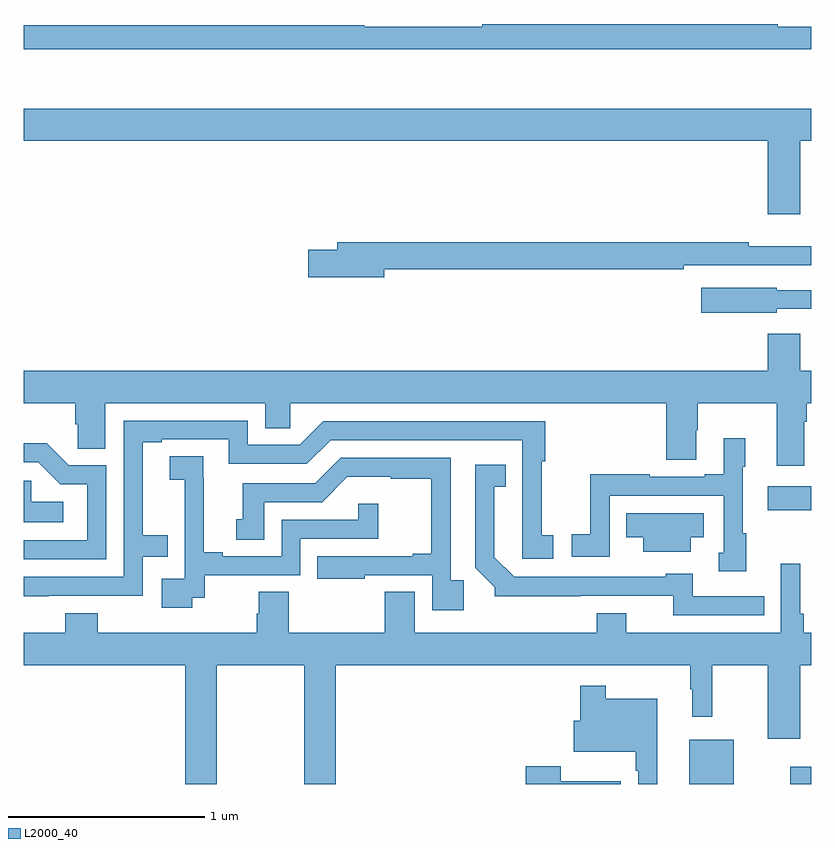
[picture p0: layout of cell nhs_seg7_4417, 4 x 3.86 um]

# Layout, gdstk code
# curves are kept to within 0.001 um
import gdstk
lib = gdstk.Library(unit=1e-6, precision=1e-09)
def R(c, l, rs):  # rectangles x0, y0, x1, y1
    for r in rs: c.add(gdstk.rectangle(r[:2], r[2:], *l))
def P(c, l, *ps):  # polygons
    for p in ps: c.add(gdstk.Polygon(p, *l))
L2000_40 = (2000, 40)

nhs_seg7_4417 = lib.new_cell('nhs_seg7_4417')
R(nhs_seg7_4417, L2000_40, [(392.381,1012,392.608,1012.225), (392.894,1012,393,1012.088), (392.781,1013.39,393,1013.512)])
P(nhs_seg7_4417, L2000_40, [(393,1015.847),(392.83,1015.847),(392.83,1015.862),(391.33,1015.862),(391.33,1015.847),(390.73,1015.847),(390.73,1015.855),(389,1015.855),(389,1015.734),(393,1015.734)],
  [(392.944,1015.268),(393,1015.268),(393,1015.432),(389,1015.432),(389,1015.268),(392.78,1015.268),(392.78,1014.894),(392.944,1014.894)],
  [(390.832,1014.616),(392.354,1014.616),(392.354,1014.636),(393,1014.636),(393,1014.733),(392.684,1014.733),(392.684,1014.752),(390.593,1014.752),(390.593,1014.716),(390.444,1014.716),(390.444,1014.574),(390.832,1014.574)],
  [(392.826,1014.414),(393,1014.414),(393,1014.51),(392.826,1014.51),(392.826,1014.523),(392.442,1014.523),(392.442,1014.394),(392.826,1014.394)],
  [(392.965,1013.84),(392.978,1013.84),(392.978,1013.936),(393,1013.936),(393,1014.1),(392.944,1014.1),(392.944,1014.289),(392.78,1014.289),(392.78,1014.1),(389,1014.1),(389,1013.936),(389.261,1013.936),(389.261,1013.827),(389.274,1013.827),(389.274,1013.704),(389.413,1013.704),(389.413,1013.936),(390.227,1013.936),(390.227,1013.809),(390.354,1013.809),(390.354,1013.936),(392.264,1013.936),(392.264,1013.647),(392.416,1013.647),(392.416,1013.798),(392.424,1013.798),(392.424,1013.936),(392.825,1013.936),(392.825,1013.616),(392.965,1013.616)],
  [(389.126,1012.956),(389.604,1012.956),(389.604,1013.154),(389.732,1013.154),(389.732,1013.263),(389.605,1013.263),(389.605,1013.736),(389.701,1013.736),(389.701,1013.751),(390.042,1013.751),(390.042,1013.628),(390.438,1013.628),(390.558,1013.748),(391.533,1013.748),(391.532,1013.145),(391.69,1013.145),(391.69,1013.265),(391.632,1013.265),(391.632,1013.641),(391.649,1013.641),(391.649,1013.844),(390.522,1013.844),(390.402,1013.724),(390.138,1013.724),(390.138,1013.847),(389.508,1013.847),(389.508,1013.052),(389,1013.052),(389,1012.955)],
  [(392.671,1013.275),(392.652,1013.275),(392.652,1013.613),(392.665,1013.613),(392.665,1013.758),(392.555,1013.758),(392.555,1013.575),(392.459,1013.575),(392.459,1013.562),(392.18,1013.562),(392.18,1013.575),(391.879,1013.575),(391.879,1013.27),(391.785,1013.27),(391.785,1013.154),(391.977,1013.154),(391.977,1013.466),(392.556,1013.466),(392.556,1013.175),(392.531,1013.175),(392.531,1013.081),(392.671,1013.081)],
  [(389.418,1013.619),(389.229,1013.619),(389.116,1013.732),(389,1013.732),(389,1013.634),(389.073,1013.634),(389.184,1013.523),(389.322,1013.523),(389.322,1013.238),(389,1013.238),(389,1013.142),(389.418,1013.142)],
  [(389.856,1012.947),(389.918,1012.947),(389.918,1013.061),(390.405,1013.061),(390.405,1013.247),(390.8,1013.247),(390.8,1013.425),(390.699,1013.425),(390.699,1013.343),(390.309,1013.343),(390.309,1013.157),(390.01,1013.157),(390.01,1013.177),(389.914,1013.177),(389.914,1013.555),(389.912,1013.555),(389.912,1013.666),(389.742,1013.666),(389.742,1013.545),(389.816,1013.545),(389.816,1013.347),(389.817,1013.347),(389.817,1013.043),(389.7,1013.043),(389.7,1012.896),(389.856,1012.896)],
  [(391.235,1013.035),(391.17,1013.035),(391.17,1013.658),(390.609,1013.658),(390.48,1013.529),(390.113,1013.529),(390.113,1013.346),(390.08,1013.346),(390.08,1013.242),(390.22,1013.242),(390.22,1013.433),(390.516,1013.433),(390.644,1013.561),(390.863,1013.561),(390.863,1013.55),(391.069,1013.55),(391.069,1013.17),(390.977,1013.17),(390.977,1013.157),(390.49,1013.157),(390.49,1013.042),(390.733,1013.042),(390.733,1013.061),(391.074,1013.061),(391.074,1012.884),(391.235,1012.884)],
  [(392.762,1012.953),(392.398,1012.953),(392.398,1013.068),(392.262,1013.068),(392.262,1013.052),(391.491,1013.052),(391.39,1013.153),(391.39,1013.51),(391.448,1013.51),(391.448,1013.623),(391.293,1013.623),(391.293,1013.098),(391.392,1012.999),(391.392,1012.955),(392.299,1012.956),(392.299,1012.857),(392.762,1012.857)],
  [(389.2,1013.434),(389.037,1013.434),(389.037,1013.541),(389,1013.541),(389,1013.33),(389.2,1013.33)],
  [(392.389,1013.255),(392.455,1013.255),(392.455,1013.377),(392.062,1013.377),(392.062,1013.255),(392.147,1013.255),(392.147,1013.18),(392.389,1013.18)],
  [(389.979,1012.604),(390.424,1012.604),(390.424,1012),(390.584,1012),(390.584,1012.604),(392.385,1012.604),(392.385,1012.481),(392.396,1012.481),(392.396,1012.341),(392.498,1012.341),(392.498,1012.604),(392.78,1012.604),(392.78,1012.23),(392.944,1012.23),(392.944,1012.604),(393,1012.604),(393,1012.768),(392.963,1012.768),(392.963,1012.864),(392.944,1012.864),(392.944,1013.119),(392.847,1013.119),(392.847,1012.768),(392.062,1012.768),(392.062,1012.867),(391.91,1012.867),(391.91,1012.768),(390.985,1012.768),(390.985,1012.976),(390.833,1012.976),(390.833,1012.768),(390.347,1012.768),(390.347,1012.976),(390.194,1012.976),(390.194,1012.866),(390.182,1012.866),(390.182,1012.768),(389.375,1012.768),(389.375,1012.867),(389.21,1012.867),(389.21,1012.768),(389,1012.768),(389,1012.604),(389.819,1012.604),(389.819,1012),(389.979,1012)],
  [(392.218,1012.432),(391.957,1012.432),(391.957,1012.498),(391.828,1012.498),(391.828,1012.321),(391.794,1012.321),(391.794,1012.163),(392.109,1012.163),(392.109,1012.067),(392.121,1012.067),(392.121,1012),(392.218,1012)],
  [(392.032,1012.015),(391.728,1012.015),(391.728,1012.09),(391.55,1012.09),(391.55,1012),(392.032,1012)])

lib.write_gds('nhs_seg7_4417.gds')
